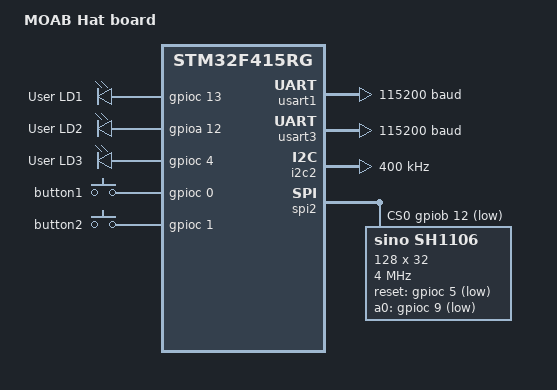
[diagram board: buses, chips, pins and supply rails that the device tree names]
/dts-v1/;
#include <st/f4/stm32f415Rg.dtsi>

/ {
	model = "MOAB Hat board";
	compatible = "st,stm32f415rg";

	chosen {
		zephyr,console = &usart1;
		zephyr,shell-uart = &usart3;
		zephyr,sram = &sram0;
		zephyr,flash = &flash0;
		zephyr,ccm = &ccm0;
		zephyr,code-partition = &slot0_partition;
	};

	leds {
		compatible = "gpio-leds";
		red_led_1: led_1 {
			gpios = <&gpioc 13 GPIO_INT_ACTIVE_HIGH>;
			label = "User LD1";
		};
		servo_en_led: led_2 {
			gpios = <&gpioa 12 GPIO_INT_ACTIVE_HIGH>;
			label = "User LD2";
		};
		spi_msg_led: led_3 {
			gpios = <&gpioc 4 GPIO_INT_ACTIVE_HIGH>;
			label = "User LD3";
		};
	};


	gpio_keys {
		compatible = "gpio-keys";
		user_button1: key1 {
			label = "button1";
			gpios = <&gpioc 0 GPIO_INT_ACTIVE_HIGH>;
		};
		user_button2: key2 {
			label = "button2";
			gpios = <&gpioc 1 GPIO_INT_ACTIVE_HIGH>;
		};
	};

	aliases {
		led-red = &red_led_1;
		button-menu = &user_button1;
		button-joystick = &user_button2;
		servo-enable = &servo_en_led;
		spi-msg-ready = &spi_msg_led;
	};
};



&usart1 {
	current-speed = <115200>;
	//status = "okay";
};

&usart3 {
	current-speed = <115200>;
	//status = "okay";
};

&timers3 {
	//status = "okay";

	// pwm {
	// 	st,prescaler = <100>;
	// 	status = "okay";
	// };
};

&i2c2 {
	//status = "okay";
	clock-frequency = <I2C_BITRATE_FAST>;

	// lp5024@62 {
	// 	compatible = "ti,lp50xx";
	// 	reg = <0x62>;
	// 	label = "LP5024";
	// 	rgb-count = <8>;
	// };
};

&spi1 {
	//status = "okay";
	cs-gpios = <&gpioa 4 GPIO_INT_ACTIVE_LOW>;
};

&spi2 {
	//status = "okay";
	cs-gpios = <&gpiob 12 GPIO_INT_ACTIVE_LOW>;
	sh1106-spi@0 {
		compatible = "sino,sh1106";
		reg = <0x0>;
		label = "SH1106";
		width = <128>;
		height = <32>;
		segment-offset = <2>;
		page-offset = <0>;
		display-offset = <0x7>; // <0x7>;
		multiplex-ratio = <0xA8>; // 63
		segment-remap;
		com-invdir;
		//com-sequential;
		prechargep = <0x1F>;
		reset-gpios = <&gpioc 5 GPIO_INT_ACTIVE_LOW>;
		a0-gpios = <&gpioc 9 GPIO_INT_ACTIVE_LOW>;
		spi-max-frequency = <4000000>;
	};
};

&adc1 {
	//status = "okay";
};

&flash0 {
	partitions {
		compatible = "fixed-partitions";
		#address-cells = <1>;
		#size-cells = <1>;

		/* 128K */
		boot_partition: partition@0 {
			label = "mcuboot";
			reg = <0x00000000 0x20000>;
			#read-only;
		};
		/* 256K */
		slot0_partition: partition@20000 {
			label = "image-0";
			reg = <0x00020000 0x40000>;
		};
		/* 256K */
		slot1_partition: partition@60000 {
			label = "image-1";
			reg = <0x00060000 0x40000>;
		};
		/* 256K */
		scratch_partition: partition@A0000 {
			label = "image-scratch";
			reg = <0x000A0000 0x40000>;
		};
	};
};
